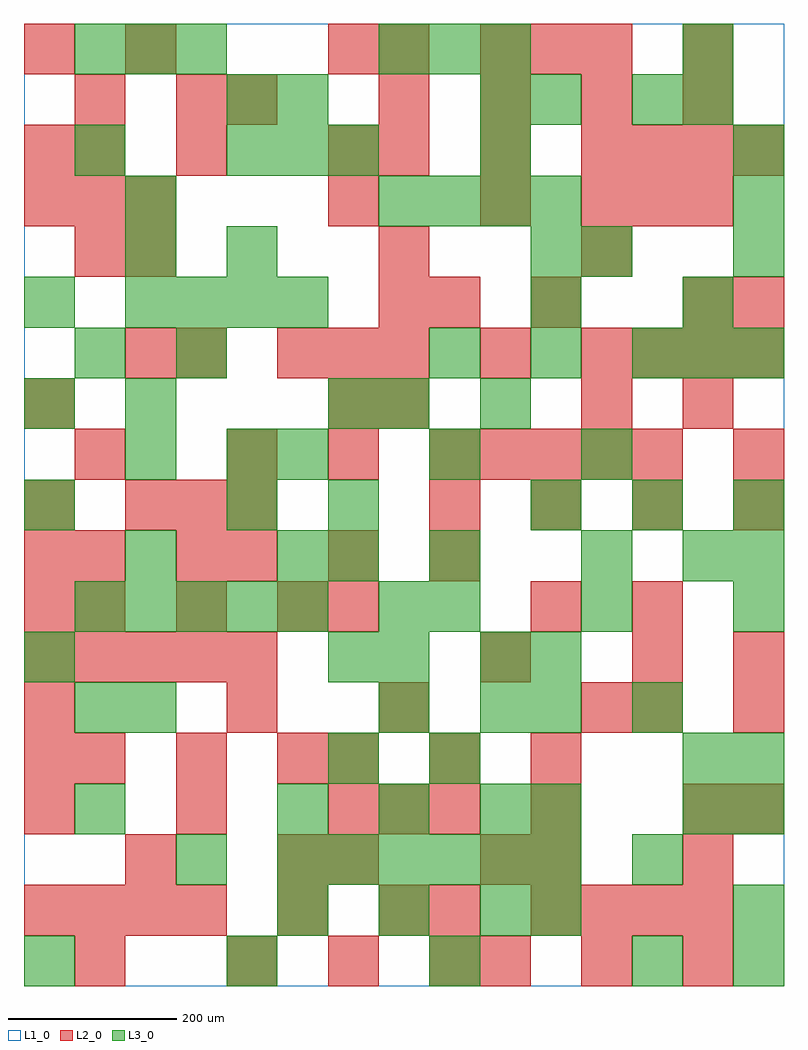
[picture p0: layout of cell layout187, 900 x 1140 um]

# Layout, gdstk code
import gdstk
lib = gdstk.Library(unit=1e-6, precision=1e-09)
def R(c, l, rs):  # rectangles x0, y0, x1, y1
    for r in rs: c.add(gdstk.rectangle(r[:2], r[2:], *l))
def A(c, l, x, y, w, h, nx, ny, dx, dy):  # array of equal rectangles
    R(c, l, [(x+i*dx, y+j*dy, x+i*dx+w, y+j*dy+h) for i in range(nx) for j in range(ny)])
L1_0 = (1, 0)
L2_0 = (2, 0)
L3_0 = (3, 0)

layout187 = lib.new_cell('layout187')
R(layout187, L1_0, [(0,0,900,1140)])
A(layout187, L2_0, 240, 0, 60, 60, 3, 2, 120, 480)
A(layout187, L2_0, 540, 0, 60, 60, 3, 1, 120, 0)
A(layout187, L2_0, 0, 60, 60, 60, 4, 1, 60, 0)
A(layout187, L2_0, 420, 60, 60, 60, 1, 3, 0, 120)
A(layout187, L2_0, 600, 60, 60, 60, 4, 1, 60, 0)
A(layout187, L2_0, 0, 180, 60, 60, 3, 1, 180, 0)
A(layout187, L2_0, 60, 240, 60, 60, 3, 2, 120, 180)
A(layout187, L2_0, 360, 240, 60, 60, 3, 1, 120, 0)
A(layout187, L2_0, 720, 300, 60, 60, 1, 3, 0, 60)
A(layout187, L2_0, 0, 360, 60, 60, 5, 1, 60, 0)
A(layout187, L2_0, 0, 420, 60, 60, 1, 3, 0, 60)
A(layout187, L2_0, 360, 420, 60, 60, 1, 3, 0, 240)
A(layout187, L2_0, 180, 480, 60, 60, 1, 3, 0, 240)
A(layout187, L2_0, 120, 540, 60, 60, 3, 1, 60, 0)
A(layout187, L2_0, 480, 540, 60, 60, 4, 1, 120, 0)
A(layout187, L2_0, 240, 600, 60, 60, 3, 1, 120, 0)
A(layout187, L2_0, 540, 600, 60, 60, 4, 1, 60, 0)
A(layout187, L2_0, 300, 720, 60, 60, 3, 1, 60, 0)
A(layout187, L2_0, 660, 720, 60, 60, 4, 1, 60, 0)
A(layout187, L2_0, 0, 900, 60, 60, 3, 1, 60, 0)
A(layout187, L2_0, 660, 900, 60, 60, 3, 1, 60, 0)
A(layout187, L2_0, 420, 960, 60, 60, 3, 1, 120, 0)
A(layout187, L2_0, 720, 960, 60, 60, 3, 1, 60, 0)
A(layout187, L2_0, 420, 1020, 60, 60, 4, 1, 120, 0)
A(layout187, L2_0, 540, 1080, 60, 60, 3, 1, 60, 0)
R(layout187, L2_0, [(60,0,120,60), (300,60,360,120), (480,60,540,120), (120,120,180,180), (300,120,360,180), (360,120,420,180), (540,120,600,180), (600,120,660,180), (780,120,840,180), (480,180,540,240), (600,180,660,240), (780,180,840,240), (840,180,900,240), (0,240,60,300), (0,300,60,360), (240,300,300,360), (660,300,720,360), (840,300,900,360), (540,360,600,420), (840,360,900,420), (600,420,660,480), (60,480,120,540), (60,600,120,660), (840,600,900,660), (0,660,60,720), (420,660,480,720), (660,660,720,720), (780,660,840,720), (120,720,180,780), (540,720,600,780), (420,780,480,840), (480,780,540,840), (600,780,660,840), (780,780,840,840), (840,780,900,840), (60,840,120,900), (120,840,180,900), (420,840,480,900), (660,840,720,900), (540,900,600,960), (0,960,60,1020), (60,960,120,1020), (360,960,420,1020), (60,1020,120,1080), (180,1020,240,1080), (240,1020,300,1080), (0,1080,60,1140), (120,1080,180,1140), (360,1080,420,1140), (420,1080,480,1140), (780,1080,840,1140)])
A(layout187, L3_0, 0, 0, 60, 60, 4, 1, 240, 0)
A(layout187, L3_0, 300, 60, 60, 60, 3, 2, 120, 120)
A(layout187, L3_0, 600, 60, 60, 60, 1, 3, 0, 120)
A(layout187, L3_0, 300, 120, 60, 60, 6, 1, 60, 0)
A(layout187, L3_0, 360, 240, 60, 60, 1, 3, 0, 120)
A(layout187, L3_0, 780, 240, 60, 60, 1, 3, 0, 240)
A(layout187, L3_0, 840, 240, 60, 60, 1, 3, 0, 240)
A(layout187, L3_0, 420, 300, 60, 60, 1, 3, 0, 60)
A(layout187, L3_0, 540, 360, 60, 60, 1, 3, 0, 300)
A(layout187, L3_0, 60, 420, 60, 60, 5, 1, 60, 0)
A(layout187, L3_0, 480, 420, 60, 60, 3, 1, 180, 0)
A(layout187, L3_0, 0, 540, 60, 60, 1, 3, 0, 120)
A(layout187, L3_0, 600, 540, 60, 60, 3, 1, 120, 0)
A(layout187, L3_0, 300, 600, 60, 60, 3, 1, 180, 0)
A(layout187, L3_0, 480, 720, 60, 60, 3, 1, 120, 0)
A(layout187, L3_0, 120, 780, 60, 60, 4, 1, 60, 0)
A(layout187, L3_0, 840, 840, 60, 60, 1, 3, 0, 60)
A(layout187, L3_0, 420, 900, 60, 60, 4, 1, 60, 0)
A(layout187, L3_0, 240, 960, 60, 60, 3, 1, 60, 0)
A(layout187, L3_0, 60, 1080, 60, 60, 3, 1, 60, 0)
A(layout187, L3_0, 420, 1080, 60, 60, 3, 1, 60, 0)
R(layout187, L3_0, [(840,0,900,60), (840,60,900,120), (180,120,240,180), (720,120,780,180), (60,180,120,240), (780,180,840,240), (840,180,900,240), (480,240,540,300), (60,300,120,360), (120,300,180,360), (540,300,600,360), (720,300,780,360), (0,360,60,420), (600,360,660,420), (120,480,180,540), (300,480,360,540), (480,480,540,540), (660,480,720,540), (240,540,300,600), (360,540,420,600), (120,600,180,660), (240,600,300,660), (120,660,180,720), (360,660,420,720), (420,660,480,720), (60,720,120,780), (180,720,240,780), (600,780,660,840), (780,780,840,840), (120,840,180,900), (240,840,300,900), (600,840,660,900), (660,840,720,900), (120,900,180,960), (60,960,120,1020), (240,1020,300,1080), (300,1020,360,1080), (540,1020,600,1080), (600,1020,660,1080), (720,1020,780,1080), (780,1020,840,1080), (780,1080,840,1140)])

lib.write_gds('layout187.gds')
